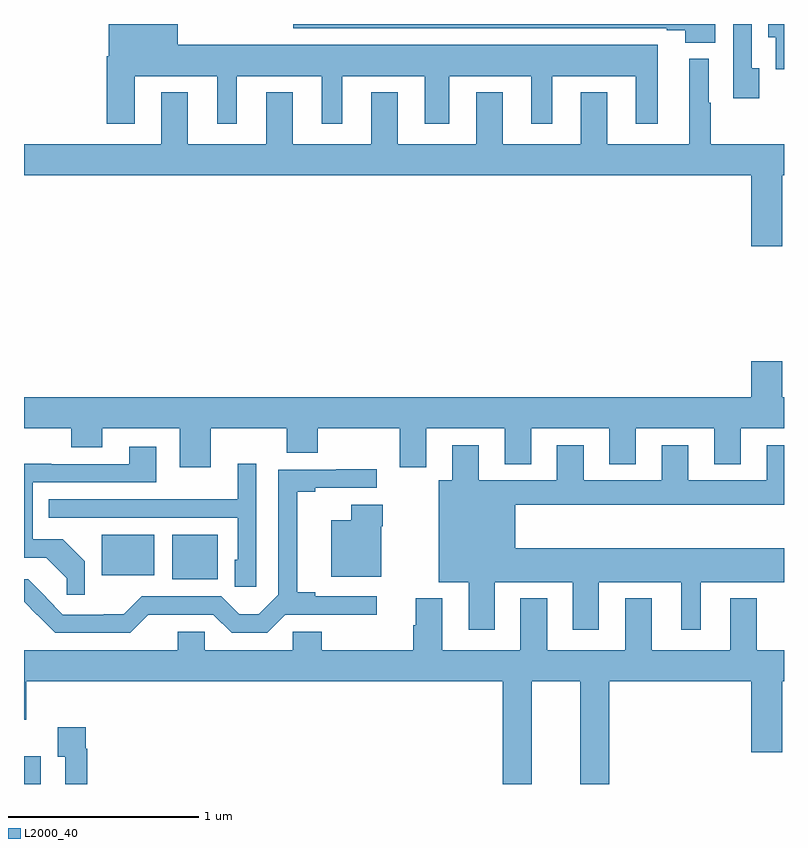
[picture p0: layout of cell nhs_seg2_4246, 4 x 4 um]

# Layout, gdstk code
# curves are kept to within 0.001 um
import gdstk
lib = gdstk.Library(unit=1e-6, precision=1e-09)
def R(c, l, rs):  # rectangles x0, y0, x1, y1
    for r in rs: c.add(gdstk.rectangle(r[:2], r[2:], *l))
def P(c, l, *ps):  # polygons
    for p in ps: c.add(gdstk.Polygon(p, *l))
L2000_40 = (2000, 40)

nhs_seg2_4246 = lib.new_cell('nhs_seg2_4246')
R(nhs_seg2_4246, L2000_40, [(341,609.8,341.089,609.946), (341.78,610.877,342.019,611.113), (341.408,610.898,341.686,611.113)])
P(nhs_seg2_4246, L2000_40, [(345,613.8),(344.918,613.8),(344.918,613.73),(344.957,613.73),(344.957,613.562),(345,613.562)],
  [(344.869,613.566),(344.829,613.566),(344.829,613.8),(344.733,613.8),(344.733,613.41),(344.869,613.41)],
  [(344.638,613.8),(342.417,613.8),(342.417,613.778),(344.384,613.778),(344.384,613.766),(344.48,613.766),(344.48,613.702),(344.638,613.702)],
  [(341.584,613.526),(342.017,613.526),(342.017,613.275),(342.121,613.275),(342.121,613.526),(342.566,613.526),(342.566,613.275),(342.676,613.275),(342.676,613.526),(343.109,613.526),(343.109,613.275),(343.237,613.275),(343.237,613.526),(343.67,613.526),(343.67,613.275),(343.78,613.275),(343.78,613.526),(344.219,613.526),(344.219,613.275),(344.335,613.275),(344.335,613.69),(341.809,613.69),(341.809,613.8),(341.447,613.8),(341.447,613.63),(341.435,613.63),(341.435,613.275),(341.584,613.275)],
  [(344.992,613.004),(345,613.004),(345,613.168),(344.615,613.168),(344.615,613.385),(344.605,613.385),(344.605,613.617),(344.501,613.617),(344.501,613.168),(344.071,613.168),(344.071,613.441),(343.931,613.441),(343.931,613.168),(343.519,613.168),(343.519,613.441),(343.379,613.441),(343.379,613.168),(342.967,613.168),(342.967,613.441),(342.827,613.441),(342.827,613.168),(342.415,613.168),(342.415,613.441),(342.275,613.441),(342.275,613.168),(341.863,613.168),(341.863,613.441),(341.723,613.441),(341.723,613.168),(341,613.168),(341,613.004),(344.828,613.004),(344.828,612.63),(344.992,612.63)],
  [(341.983,611.672),(342.383,611.672),(342.383,611.544),(342.547,611.544),(342.547,611.672),(342.977,611.672),(342.977,611.466),(343.117,611.466),(343.117,611.672),(343.529,611.672),(343.529,611.483),(343.669,611.483),(343.669,611.672),(344.081,611.672),(344.081,611.483),(344.221,611.483),(344.221,611.672),(344.633,611.672),(344.633,611.483),(344.773,611.483),(344.773,611.672),(345,611.672),(345,611.836),(344.992,611.836),(344.992,612.025),(344.828,612.025),(344.828,611.836),(341,611.836),(341,611.672),(341.249,611.672),(341.249,611.573),(341.413,611.573),(341.413,611.672),(341.819,611.672),(341.819,611.466),(341.983,611.466)],
  [(343.477,610.862),(343.889,610.862),(343.889,610.611),(344.026,610.611),(344.026,610.862),(344.459,610.862),(344.459,610.611),(344.563,610.611),(344.563,610.862),(345,610.862),(345,611.041),(343.585,611.041),(343.585,611.27),(345,611.27),(345,611.584),(344.909,611.584),(344.909,611.398),(344.497,611.398),(344.497,611.584),(344.357,611.584),(344.357,611.398),(343.945,611.398),(343.945,611.584),(343.805,611.584),(343.805,611.398),(343.393,611.398),(343.393,611.584),(343.253,611.584),(343.253,611.398),(343.184,611.398),(343.184,610.862),(343.34,610.862),(343.34,610.611),(343.477,610.611)],
  [(341.319,610.972),(341.203,611.088),(341.046,611.088),(341.046,611.388),(341.695,611.388),(341.695,611.575),(341.555,611.575),(341.555,611.484),(341.143,611.484),(341.143,611.486),(341,611.486),(341,610.992),(341.116,610.992),(341.224,610.884),(341.224,610.797),(341.319,610.797)],
  [(342.222,611.485),(342.125,611.485),(342.125,611.299),(341.791,611.299),(341.791,611.298),(341.131,611.298),(341.131,611.202),(342.126,611.202),(342.126,610.98),(342.11,610.98),(342.11,610.837),(342.222,610.837)],
  [(341.654,610.691),(341.997,610.692),(342.093,610.596),(342.28,610.596),(342.376,610.692),(342.856,610.691),(342.856,610.788),(342.532,610.788),(342.532,610.808),(342.437,610.808),(342.437,611.338),(342.532,611.338),(342.532,611.358),(342.856,611.358),(342.856,611.456),(342.643,611.456),(342.643,611.454),(342.339,611.454),(342.339,610.797),(342.235,610.693),(342.134,610.693),(342.039,610.788),(341.619,610.788),(341.525,610.694),(341.42,610.694),(341.42,610.692),(341.205,610.692),(341.115,610.782),(341.117,610.784),(341.023,610.878),(341,610.878),(341,610.759),(341.165,610.596),(341.559,610.596)],
  [(342.88,611.156),(342.888,611.156),(342.888,611.269),(342.722,611.269),(342.722,611.188),(342.617,611.188),(342.617,610.892),(342.88,610.892)],
  [(343.672,610.34),(343.928,610.34),(343.928,609.8),(344.081,609.8),(344.081,610.34),(344.828,610.34),(344.828,609.966),(344.992,609.966),(344.992,610.34),(345,610.34),(345,610.504),(344.857,610.504),(344.857,610.777),(344.717,610.777),(344.717,610.504),(344.305,610.504),(344.305,610.777),(344.165,610.777),(344.165,610.504),(343.753,610.504),(343.753,610.777),(343.613,610.777),(343.613,610.504),(343.201,610.504),(343.201,610.777),(343.061,610.777),(343.061,610.635),(343.049,610.635),(343.049,610.504),(342.566,610.504),(342.566,610.602),(342.414,610.602),(342.414,610.504),(341.952,610.504),(341.952,610.602),(341.81,610.602),(341.81,610.504),(341,610.504),(341,610.138),(341.012,610.138),(341.012,610.34),(343.52,610.34),(343.52,609.8),(343.672,609.8)],
  [(341.333,609.986),(341.326,609.986),(341.326,610.099),(341.177,610.099),(341.177,609.943),(341.217,609.943),(341.217,609.8),(341.333,609.8)])

lib.write_gds('nhs_seg2_4246.gds')
